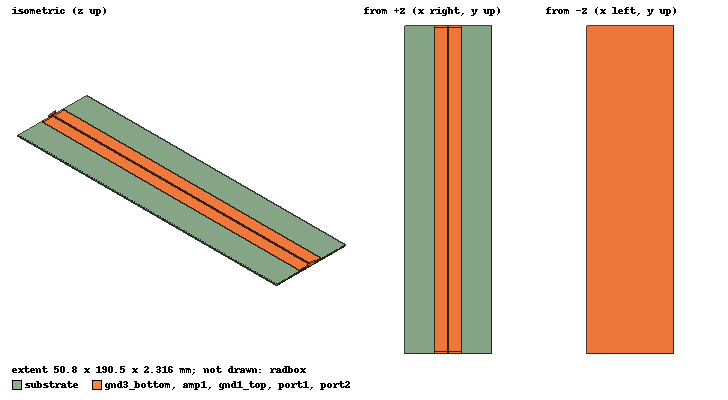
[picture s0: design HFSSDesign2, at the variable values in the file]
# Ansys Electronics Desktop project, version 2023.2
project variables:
  $w = 50.8mm
  $l = 190.5mm
  $w_lin = 0.53789169mm  # optimise 0.52mm..1.56mm
  $h_sig = 0.03556mm
  $w_gnd_top = 7.5mm
  $d = 0.11434763mm  # optimise 0.2mm..0.6mm
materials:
  vacuum: permittivity=1
  FR4_epoxy: permittivity=4.4 dielectric_loss_tangent=0.02
  air: permittivity=1.0006 permeability=1.0000004
  rhodium: conductivity=22200000
  Rogers RO4350 (tm): permittivity=3.66 dielectric_loss_tangent=0.004
  copper: permeability=0.999991 conductivity=58000000
  solder: conductivity=7000000

design HFSSDesign2 (HFSS, HFSS Modal Network, model units mm)
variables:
  w = 50.8mm
  l = 190.5mm
  h_sub = 0.508mm
  h_gnd3 = 0.03556mm
  w_lin = 1.04mm
  h_sig = 0.03556mm
  w_gnd_top = 7.5mm
  h_ges = h_gnd3+h_sig+h_sub
  pos_gnd1 = w/2-$w_lin/2-$d-w_gnd_top
  pos_lin = w/2-$w_lin/2
  pos_gnd2 = w/2+$w_lin/2+$d
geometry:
  radbox [air] = box(corner=(-15mm, 0mm, -15mm), size=(w+30mm, l, h_ges+30mm))
  gnd3_bottom [copper] = box(corner=(0mm, 0mm, 0mm), size=(w, l, h_gnd3))
  substrate [Rogers RO4350 (tm)] = box(corner=(0mm, 0mm, h_gnd3), size=(w, l, h_sub))
  gnd1_top [copper] = box(corner=(pos_gnd1, 1mm, h_gnd3+h_sub), size=(w_gnd_top, l-2mm, h_sig))
  gnd2_top = box(corner=(pos_gnd2, 1mm, h_gnd3+h_sub), size=(w_gnd_top, l-2mm, h_sig))
  port1 = rectangle(corner=(w/2-$w_lin*5, 0mm, 0mm), z_size=h_ges*4, x_size=$w_lin*10)
  port2 = rectangle(corner=(w/2-$w_lin*5, l, 0mm), z_size=h_ges*4, x_size=$w_lin*10)
  gnd1_top.unite(gnd2_top)
  via1 [copper] = cylinder(axis=Z, base_centre=(23.32mm, 2mm, h_gnd3), radius=0.2mm, height=h_sub)
  via1_1..via1_78 [copper] = via1.duplicate_along_line(step=(0mm, 2.4mm, 0mm), total=300)  # copies kept: 1..78
  via2 [copper] = cylinder(axis=Z, base_centre=(27.48mm, 2mm, h_gnd3), radius=0.2mm, height=h_sub)
  via2_1..via2_78 [copper] = via2.duplicate_along_line(step=(0mm, 2.4mm, 0mm), total=79)
  coordinate_system RelativeCS1 = origin=(17.516707mm, 0mm, 0.57912mm) x=(1mm, 0mm, 0mm) y=(0mm, 1mm, 0mm)
  coordinate_system RelativeCS2 = origin=(50.8mm, 0mm, 0mm) x=(0mm, 10mm, 0mm) y=(-8mm, 0mm, 0mm)
  amp1 [copper] = polyline(z=h_ges, xy in mm: (9.3747, 25.66895) (9.48544, 25.57501) (9.48544, 25.225) (9.3747, 25.13106) (9.3747, 25.66895), closed, covered) in RelativeCS2
  amp1.thicken(h_sig)
  amp1_out = polyline(z=h_ges, xy in mm: (9.3747, 25.66895) (9.48544, 25.57501) (9.48544, 25.225) (9.3747, 25.13106) (9.3747, 25.66895), closed, covered) in RelativeCS2
  amp1_out.thicken(h_sig)
  amp1_out.mirror(point=(9.45mm, 25.6mm, 0mm), normal=(1mm, 0mm, 0mm)) in RelativeCS2
  amp1_out.move(0.07088mm, 0mm, 0mm) in RelativeCS2
  amp1_in_top = polyline(z=h_ges, xy in mm: (9.48544, 25.72504) (9.417, 25.78325) (9.48544, 25.78325) (9.48544, 25.72504), closed, covered) in RelativeCS2
  amp1_in_top.thicken(h_sig)
  amp1_out_top = polyline(z=h_ges, xy in mm: (9.48544, 25.72504) (9.417, 25.78325) (9.48544, 25.78325) (9.48544, 25.72504), closed, covered) in RelativeCS2
  amp1_out_top.thicken(h_sig)
  amp1_out_top.mirror(point=(9.417mm, 25.78325mm, 0.57912mm), normal=(1mm, 0mm, 0mm)) in RelativeCS2
  amp1_out_top.move(0.13688mm, 0mm, 0mm) in RelativeCS2
  amp1_in_bot = polyline(z=h_ges, xy in mm: (9.48544, 25.72504) (9.417, 25.78325) (9.48544, 25.78325) (9.48544, 25.72504), closed, covered) in RelativeCS2
  amp1_in_bot.thicken(h_sig)
  amp1_in_bot.mirror(point=(9.48544mm, 25.78325mm, 0.57912mm), normal=(0mm, -1mm, 0mm)) in RelativeCS2
  amp1_in_bot.move(0mm, -0.76653932mm, 0mm) in RelativeCS2
  amp1_out_bot = polyline(z=h_ges, xy in mm: (9.48544, 25.72504) (9.417, 25.78325) (9.48544, 25.78325) (9.48544, 25.72504), closed, covered) in RelativeCS2
  amp1_out_bot.thicken(h_sig)
  amp1_out_bot.mirror(point=(9.48544mm, 25.78325mm, 0.57912mm), normal=(0mm, -1mm, 0mm)) in RelativeCS2
  amp1_out_bot.move(0mm, -0.76653932mm, 0mm) in RelativeCS2
  amp1_out_bot.mirror(point=(9.417mm, 25.016711mm, 0.57912mm), normal=(1mm, 0mm, 0mm)) in RelativeCS2
  amp1_out_bot.move(0.13688mm, 0mm, 0mm) in RelativeCS2
  amp1.unite(amp1_in_bot, amp1_in_top, amp1_out, amp1_out_bot, amp1_out_top)
  amp2 = polyline(z=h_ges, xy in mm: (9.3747, 25.66895) (9.48544, 25.57501) (9.48544, 25.225) (9.3747, 25.13106) (9.3747, 25.66895), closed, covered) in RelativeCS2
  amp2.thicken(h_sig)
  amp1_in_bot1 = polyline(z=h_ges, xy in mm: (9.48544, 25.72504) (9.417, 25.78325) (9.48544, 25.78325) (9.48544, 25.72504), closed, covered) in RelativeCS2
  amp1_in_bot1.thicken(h_sig)
  amp1_in_bot1.mirror(point=(9.48544mm, 25.78325mm, 0.57912mm), normal=(0mm, -1mm, 0mm)) in RelativeCS2
  amp1_in_bot1.move(0mm, -0.76653932mm, 0mm) in RelativeCS2
  amp1_in_top1 = polyline(z=h_ges, xy in mm: (9.48544, 25.72504) (9.417, 25.78325) (9.48544, 25.78325) (9.48544, 25.72504), closed, covered) in RelativeCS2
  amp1_in_top1.thicken(h_sig)
  amp1_out1 = polyline(z=h_ges, xy in mm: (9.3747, 25.66895) (9.48544, 25.57501) (9.48544, 25.225) (9.3747, 25.13106) (9.3747, 25.66895), closed, covered) in RelativeCS2
  amp1_out1.thicken(h_sig)
  amp1_out1.mirror(point=(9.45mm, 25.6mm, 0mm), normal=(1mm, 0mm, 0mm)) in RelativeCS2
  amp1_out1.move(0.07088mm, 0mm, 0mm) in RelativeCS2
  amp1_out_bot1 = polyline(z=h_ges, xy in mm: (9.48544, 25.72504) (9.417, 25.78325) (9.48544, 25.78325) (9.48544, 25.72504), closed, covered) in RelativeCS2
  amp1_out_bot1.thicken(h_sig)
  amp1_out_bot1.mirror(point=(9.48544mm, 25.78325mm, 0.57912mm), normal=(0mm, -1mm, 0mm)) in RelativeCS2
  amp1_out_bot1.move(0mm, -0.76653932mm, 0mm) in RelativeCS2
  amp1_out_bot1.mirror(point=(9.417mm, 25.016711mm, 0.57912mm), normal=(1mm, 0mm, 0mm)) in RelativeCS2
  amp1_out_bot1.move(0.13688mm, 0mm, 0mm) in RelativeCS2
  amp1_out_top1 = polyline(z=h_ges, xy in mm: (9.48544, 25.72504) (9.417, 25.78325) (9.48544, 25.78325) (9.48544, 25.72504), closed, covered) in RelativeCS2
  amp1_out_top1.thicken(h_sig)
  amp1_out_top1.mirror(point=(9.417mm, 25.78325mm, 0.57912mm), normal=(1mm, 0mm, 0mm)) in RelativeCS2
  amp1_out_top1.move(0.13688mm, 0mm, 0mm) in RelativeCS2
  amp2.unite(amp1_in_bot1, amp1_in_top1, amp1_out1, amp1_out_bot1, amp1_out_top1)
  amp3 = polyline(z=h_ges, xy in mm: (9.3747, 25.66895) (9.48544, 25.57501) (9.48544, 25.225) (9.3747, 25.13106) (9.3747, 25.66895), closed, covered) in RelativeCS2
  amp3.thicken(h_sig)
  amp1_in_bot2 = polyline(z=h_ges, xy in mm: (9.48544, 25.72504) (9.417, 25.78325) (9.48544, 25.78325) (9.48544, 25.72504), closed, covered) in RelativeCS2
  amp1_in_bot2.thicken(h_sig)
  amp1_in_bot2.mirror(point=(9.48544mm, 25.78325mm, 0.57912mm), normal=(0mm, -1mm, 0mm)) in RelativeCS2
  amp1_in_bot2.move(0mm, -0.76653932mm, 0mm) in RelativeCS2
  amp1_in_top2 = polyline(z=h_ges, xy in mm: (9.48544, 25.72504) (9.417, 25.78325) (9.48544, 25.78325) (9.48544, 25.72504), closed, covered) in RelativeCS2
  amp1_in_top2.thicken(h_sig)
  amp1_out2 = polyline(z=h_ges, xy in mm: (9.3747, 25.66895) (9.48544, 25.57501) (9.48544, 25.225) (9.3747, 25.13106) (9.3747, 25.66895), closed, covered) in RelativeCS2
  amp1_out2.thicken(h_sig)
  amp1_out2.mirror(point=(9.45mm, 25.6mm, 0mm), normal=(1mm, 0mm, 0mm)) in RelativeCS2
  amp1_out2.move(0.07088mm, 0mm, 0mm) in RelativeCS2
  amp1_out_bot2 = polyline(z=h_ges, xy in mm: (9.48544, 25.72504) (9.417, 25.78325) (9.48544, 25.78325) (9.48544, 25.72504), closed, covered) in RelativeCS2
  amp1_out_bot2.thicken(h_sig)
  amp1_out_bot2.mirror(point=(9.48544mm, 25.78325mm, 0.57912mm), normal=(0mm, -1mm, 0mm)) in RelativeCS2
  amp1_out_bot2.move(0mm, -0.76653932mm, 0mm) in RelativeCS2
  amp1_out_bot2.mirror(point=(9.417mm, 25.016711mm, 0.57912mm), normal=(1mm, 0mm, 0mm)) in RelativeCS2
  amp1_out_bot2.move(0.13688mm, 0mm, 0mm) in RelativeCS2
  amp1_out_top2 = polyline(z=h_ges, xy in mm: (9.48544, 25.72504) (9.417, 25.78325) (9.48544, 25.78325) (9.48544, 25.72504), closed, covered) in RelativeCS2
  amp1_out_top2.thicken(h_sig)
  amp1_out_top2.mirror(point=(9.417mm, 25.78325mm, 0.57912mm), normal=(1mm, 0mm, 0mm)) in RelativeCS2
  amp1_out_top2.move(0.13688mm, 0mm, 0mm) in RelativeCS2
  amp3.unite(amp1_in_bot2, amp1_in_top2, amp1_out2, amp1_out_bot2, amp1_out_top2)
  amp2.move(34.30253mm, 0mm, 0mm) in RelativeCS2
  amp3.move(88.42772mm, 0mm, 0mm) in RelativeCS2
  att1 = polyline(z=h_ges-h_sig, xy in mm: (28.099, 25.75) (28.099, 25.7833) (27.9575, 25.7833) (28.099, 25.75), closed, covered) in RelativeCS2
  att1.thicken(h_sig)
  att1.mirror(point=(27.9575mm, 25.7833mm, 0.03556mm), normal=(1mm, 0mm, 0mm)) in RelativeCS2
  att1.move(0.2832mm, 7.1054274e-15mm, 0mm) in RelativeCS2
  att1.mirror(point=(28.0991mm, 25.7833mm, 0.03556mm), normal=(0mm, -1mm, 0mm)) in RelativeCS2
  att1.move(0mm, -0.76658696mm, 0mm) in RelativeCS2
  att1.mirror(point=(28.099mm, 25.016713mm, 0.03556mm), normal=(1mm, -5.0144159e-14mm, 0mm)) in RelativeCS2
  att_bot_out = polyline(z=h_ges-h_sig, xy in mm: (28.099, 25.75) (28.099, 25.7833) (27.9575, 25.7833) (28.099, 25.75), closed, covered) in RelativeCS2
  att_bot_out.thicken(h_sig)
  att_bot_out.mirror(point=(27.9575mm, 25.7833mm, 0.03556mm), normal=(1mm, 0mm, 0mm)) in RelativeCS2
  att_bot_out.move(0.2832mm, 7.1054274e-15mm, 0mm) in RelativeCS2
  att_bot_out.mirror(point=(28.0991mm, 25.7833mm, 0.03556mm), normal=(0mm, -1mm, 0mm)) in RelativeCS2
  att_bot_out.move(0mm, -0.76658696mm, 0mm) in RelativeCS2
  att_bot_out.mirror(point=(28.099mm, 25.016713mm, 0.03556mm), normal=(1mm, -5.0144159e-14mm, 0mm)) in RelativeCS2
  att_bot_out.mirror(point=(27.9573mm, 25.016713mm, 0.57912mm), normal=(1mm, -1.0043007e-13mm, 0mm)) in RelativeCS2
  att_bot_out.move(0.283mm, -2.4868996e-14mm, 0mm) in RelativeCS2
  att_in = polyline(z=h_ges, xy in mm: (27.9575, 25.66895) (28.099, 25.55) (28.099, 25.25) (27.9575, 25.13105) (27.9575, 25.66895), closed, covered) in RelativeCS2
  att_in.thicken(h_sig)
  att_out = polyline(z=h_ges, xy in mm: (27.9575, 25.66895) (28.099, 25.55) (28.099, 25.25) (27.9575, 25.13105) (27.9575, 25.66895), closed, covered) in RelativeCS2
  att_out.thicken(h_sig)
  att_out.mirror(point=(27.9575mm, 25.66895mm, 0.57912mm), normal=(1mm, 6.2768793e-14mm, 0mm)) in RelativeCS2
  att_out.move(0.283mm, 1.4210855e-14mm, -1.110223e-16mm) in RelativeCS2
  att_top_in = polyline(z=h_ges-h_sig, xy in mm: (28.099, 25.75) (28.099, 25.7833) (27.9575, 25.7833) (28.099, 25.75), closed, covered) in RelativeCS2
  att_top_in.thicken(h_sig)
  att_top_out = polyline(z=h_ges-h_sig, xy in mm: (28.099, 25.75) (28.099, 25.7833) (27.9575, 25.7833) (28.099, 25.75), closed, covered) in RelativeCS2
  att_top_out.thicken(h_sig)
  att_top_out.mirror(point=(27.9575mm, 25.7833mm, 0.57912mm), normal=(1mm, 0mm, 0mm)) in RelativeCS2
  att_top_out.move(0.283mm, 7.1054274e-15mm, 0mm) in RelativeCS2
  att1.unite(att_bot_out, att_in, att_out, att_top_in, att_top_out)
  att2 = polyline(z=h_ges-h_sig, xy in mm: (28.099, 25.75) (28.099, 25.7833) (27.9575, 25.7833) (28.099, 25.75), closed, covered) in RelativeCS2
  att2.thicken(h_sig)
  att2.mirror(point=(27.9575mm, 25.7833mm, 0.03556mm), normal=(1mm, 0mm, 0mm)) in RelativeCS2
  att2.move(0.2832mm, 7.1054274e-15mm, 0mm) in RelativeCS2
  att2.mirror(point=(28.0991mm, 25.7833mm, 0.03556mm), normal=(0mm, -1mm, 0mm)) in RelativeCS2
  att2.move(0mm, -0.76658696mm, 0mm) in RelativeCS2
  att2.mirror(point=(28.099mm, 25.016713mm, 0.03556mm), normal=(1mm, -5.0144159e-14mm, 0mm)) in RelativeCS2
  att_bot_out1 = polyline(z=h_ges-h_sig, xy in mm: (28.099, 25.75) (28.099, 25.7833) (27.9575, 25.7833) (28.099, 25.75), closed, covered) in RelativeCS2
  att_bot_out1.thicken(h_sig)
  att_bot_out1.mirror(point=(27.9575mm, 25.7833mm, 0.03556mm), normal=(1mm, 0mm, 0mm)) in RelativeCS2
  att_bot_out1.move(0.2832mm, 7.1054274e-15mm, 0mm) in RelativeCS2
  att_bot_out1.mirror(point=(28.0991mm, 25.7833mm, 0.03556mm), normal=(0mm, -1mm, 0mm)) in RelativeCS2
  att_bot_out1.move(0mm, -0.76658696mm, 0mm) in RelativeCS2
  att_bot_out1.mirror(point=(28.099mm, 25.016713mm, 0.03556mm), normal=(1mm, -5.0144159e-14mm, 0mm)) in RelativeCS2
  att_bot_out1.mirror(point=(27.9573mm, 25.016713mm, 0.57912mm), normal=(1mm, -1.0043007e-13mm, 0mm)) in RelativeCS2
  att_bot_out1.move(0.283mm, -2.4868996e-14mm, 0mm) in RelativeCS2
  att_in1 = polyline(z=h_ges, xy in mm: (27.9575, 25.66895) (28.099, 25.55) (28.099, 25.25) (27.9575, 25.13105) (27.9575, 25.66895), closed, covered) in RelativeCS2
  att_in1.thicken(h_sig)
  att_out1 = polyline(z=h_ges, xy in mm: (27.9575, 25.66895) (28.099, 25.55) (28.099, 25.25) (27.9575, 25.13105) (27.9575, 25.66895), closed, covered) in RelativeCS2
  att_out1.thicken(h_sig)
  att_out1.mirror(point=(27.9575mm, 25.66895mm, 0.57912mm), normal=(1mm, 6.2768793e-14mm, 0mm)) in RelativeCS2
  att_out1.move(0.283mm, 1.4210855e-14mm, -1.110223e-16mm) in RelativeCS2
  att_top_in1 = polyline(z=h_ges-h_sig, xy in mm: (28.099, 25.75) (28.099, 25.7833) (27.9575, 25.7833) (28.099, 25.75), closed, covered) in RelativeCS2
  att_top_in1.thicken(h_sig)
  att_top_out1 = polyline(z=h_ges-h_sig, xy in mm: (28.099, 25.75) (28.099, 25.7833) (27.9575, 25.7833) (28.099, 25.75), closed, covered) in RelativeCS2
  att_top_out1.thicken(h_sig)
  att_top_out1.mirror(point=(27.9575mm, 25.7833mm, 0.57912mm), normal=(1mm, 0mm, 0mm)) in RelativeCS2
  att_top_out1.move(0.283mm, 7.1054274e-15mm, 0mm) in RelativeCS2
  att2.unite(att_bot_out1, att_in1, att_out1, att_top_in1, att_top_out1)
  att2.move(53.212mm, 1.7763568e-14mm, 0mm) in RelativeCS2
  line2 = rectangle(corner=(9.59618mm, 25.13106mm, h_ges-h_sig), x_size=18.36132mm, y_size=0.53789mm) in RelativeCS2
  line3 = rectangle(corner=(28.2405mm, 25.13105mm, h_ges-h_sig), x_size=15.43673mm, y_size=0.5379mm) in RelativeCS2
  line4 = rectangle(corner=(43.89871mm, 25.13106mm, h_ges-h_sig), x_size=37.27079mm, y_size=0.53789mm) in RelativeCS2
  line5 = rectangle(corner=(81.4525mm, 25.13105mm, h_ges-h_sig), x_size=16.34992mm, y_size=0.5379mm) in RelativeCS2
  [line2..line5].thicken(h_sig)
  line1 = rectangle(corner=(9.3747mm, 25.13106mm, h_ges), x_size=-9.3747mm+1mm, y_size=0.53789mm) in RelativeCS2
  line1.thicken(h_sig)
  line6 = rectangle(corner=(190.5mm-1mm, 25.66895mm, h_ges-h_sig), x_size=-92.4761mm+1mm, y_size=-0.53789mm) in RelativeCS2
  line6.thicken(h_sig)
  solder2 [solder] = rectangle(corner=(25.249957mm, 0mm, 0.57912mm), x_size=0.3mm, y_size=1mm)
  solder2.thicken(0.6mm)
  solder1 [solder] = rectangle(corner=(25.249957mm, 0mm, 0.57912mm), x_size=0.3mm, y_size=1mm)
  solder1.thicken(0.6mm)
  solder1.move(-3.5527137e-15mm, 189.5mm, -3.01056mm)
  solder1.move(0mm, 0mm, 3.01056mm)
  in = polyline(z=-h_sig, xy in mm: (7.73325, 0) (8.03325, 0) (8.03325, 0.5) (8.1522, 1) (7.61431, 1) (7.73325, 0.5) (7.73325, 0), closed, covered) in RelativeCS1
  in.thicken(h_sig)
  in_bot = polyline(z=h_ges, xy in mm: (25.949957, 0) (25.949957, 0.5) (25.783293, 1) (33.283293, 1) (33.283293, 0) (25.949957, 0), closed, covered)
  in_bot.thicken(h_sig)
  in_top = polyline(z=h_ges, xy in mm: (25.949957, 0) (25.949957, 0.5) (25.783293, 1) (33.283293, 1) (33.283293, 0) (25.949957, 0), closed, covered)
  in_top.thicken(h_sig)
  in_top.mirror(point=(33.283293mm, 1mm, 0.57912mm), normal=(-1mm, 0mm, 0mm))
  in_top.move(-15.766587mm, 0mm, 1.110223e-16mm)
  out_bot = polyline(z=h_ges, xy in mm: (25.949957, 0) (25.949957, 0.5) (25.783293, 1) (33.283293, 1) (33.283293, 0) (25.949957, 0), closed, covered)
  out_bot.thicken(h_sig)
  out_bot.mirror(point=(33.283293mm, 1mm, 0.57912mm), normal=(-1mm, 0mm, 0mm))
  out_bot.move(-15.766587mm, 0mm, 1.110223e-16mm)
  out_bot.mirror(point=(17.516707mm, 0mm, 0.57912mm), normal=(0mm, 1mm, 0mm))
  out_bot.move(4.6185278e-14mm, 190.5mm, 0mm)
  out_bot.mirror(point=(17.516707mm, 189.5mm, 0.57912mm), normal=(1mm, 0mm, 0mm))
  out_bot.move(15.766587mm, 0mm, -1.110223e-16mm)
  out_top = polyline(z=h_ges, xy in mm: (25.949957, 0) (25.949957, 0.5) (25.783293, 1) (33.283293, 1) (33.283293, 0) (25.949957, 0), closed, covered)
  out_top.thicken(h_sig)
  out_top.mirror(point=(33.283293mm, 1mm, 0.57912mm), normal=(-1mm, 0mm, 0mm))
  out_top.move(-15.766587mm, 0mm, 1.110223e-16mm)
  out_top.mirror(point=(17.516707mm, 0mm, 0.57912mm), normal=(0mm, 1mm, 0mm))
  out_top.move(4.6185278e-14mm, 190.5mm, 0mm)
  out = polyline(z=-h_sig, xy in mm: (7.73325, 0) (8.03325, 0) (8.03325, 0.5) (8.1522, 1) (7.61431, 1) (7.73325, 0.5) (7.73325, 0), closed, covered) in RelativeCS1
  out.thicken(h_sig)
  out.mirror(point=(7.73325mm, 0mm, 0mm), normal=(0mm, 1mm, 0mm)) in RelativeCS1
  out.move(0mm, 190.5mm, 0mm) in RelativeCS1
  in.unite(in_bot, in_top)
  out.unite(out_bot, out_top)
  amp1.unite(amp2, amp3, att1, att2, in, line1..line6, out)
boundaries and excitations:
  Rad1: Radiation Objects=radbox
  1: Wave Port Objects=port1 WavePortType=Modal NumModes=1 Modes{Mode1{CharImp=Zpi RenormImp=50ohm}}
  2: Wave Port Objects=port2 WavePortType=Modal NumModes=1 Modes{Mode1{CharImp=Zpi RenormImp=50ohm}}
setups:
  Setup1: HfssDriven Frequency=10GHz MaxDeltaS=0.02 MaximumPasses=20 MinimumPasses=1 MinimumConvergedPasses=1 PercentRefinement=30 BasisOrder=1 PortAccuracy=2 DrivenSolverType="Direct Solver"
    sweep Sweep_fast: 10GHz to 20GHz step 0.3GHz; Type=Discrete
    sweep Sweep: 1GHz to 20GHz step 0.1GHz; Type=Discrete
    sweep Sweep_fine: 0.01GHz to 20GHz step 0.01GHz; Type=Discrete
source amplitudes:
  1:1: 1W 0deg
  2:1: 0W 0deg
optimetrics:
  OptimizationSetup2: Optimization Optimizer="Quasi Newton" AnalysisStopOptions{StopForNumIteration MaxNumIteration=1000 MinNumIteration=10} CostFuncNormType=L2 Acceptable_Cost=0 Noise=0.0001 UpdateDesignWhenDone
    vary $d: Min=0.1mm Max=0.6mm MinStep=0.004mm MaxStep=0.04mm MinFocus=0.2mm MaxFocus=0.6mm start=0.125mm
    vary $w_lin: Min=0.3556mm Max=1.56mm MinStep=0.0104mm MaxStep=0.104mm MinFocus=0.52mm MaxFocus=1.56mm start=0.56704mm
    goal dB(S(1,1)) <= -30 weight 0.5 on Setup1 : Sweep_fast at Freq 1GHz to 20GHz
    goal dB(S(2,2)) <= -30 weight 0.5 on Setup1 : Sweep_fast at Freq 1GHz to 20GHz
    goal mag(Zo(1)) == 50 weight 1 on Setup1 : Sweep_fast at Freq 10GHz to 19.9GHz
    goal re(Zo(2)) == 50 weight 1 on Setup1 : Sweep_fast at Freq 10GHz to 19.9GHz
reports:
  S Parameter Plot 1: dB(S(1,1)), dB(S(2,1)), dB(S(1,2)), dB(S(2,2)) vs Freq on Setup1 : Sweep [w_gnd_top=all]
  Port Zo Plot 1: mag(Zo(1)), mag(Zo(2)) vs Freq on Setup1 : Sweep [w_gnd_top=all]
  S Parameter Plot fine: dB(S(1,1)), dB(S(2,1)), dB(S(1,2)), dB(S(2,2)) vs Freq on Setup1 : Sweep_fine
